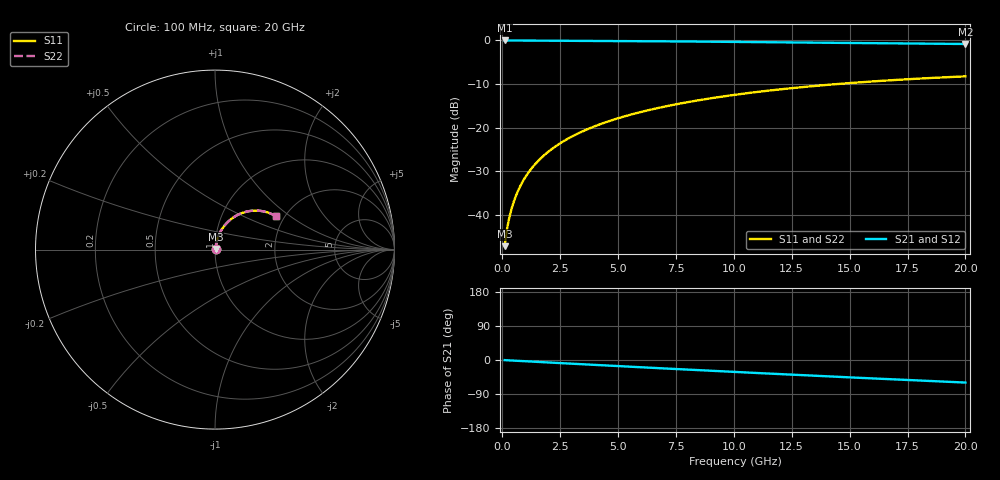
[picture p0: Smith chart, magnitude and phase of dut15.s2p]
! Touchstone file exported from HFSS 2026.1.0
!  File:  C:/ffzhzh/LocalFiles/Ansys_Project_Files/temp_train_TMRDL_15_1782880233_42304.aedt
!  Generated:  12:31:57 PM Jul  1, 2026
!  Design:  TMRDL
!  Project:  temp_train_TMRDL_15_1782880233_42304
! Variables:
!  h_bsmrdl = 2um
!  h_ox = 20um
!  h_rdl = 5um
!  h_sub = 80um
!  h_tmrdl = 4.56um
!  h_tsv = 80um
!  h_via = 3um
!  l_bsmrdl = 300um
!  l_sub = 1380.94um
!  l_tmrdl = 980.94um
!  m_sub = 200um
!  pitch = 46.74um
!  r_tsv = 6um
!  s_tmrdl = 10um
!  w_bsmrdl = 18um
!  w_sub = 500um
!  w_tmrdl = 26.03um
!  x_tsv_center1 = 993.955um
!  x_tsv_center2 = 1311.955um
!  x_tsv_center3 = 2318.925um
!  x_tsv_center4 = 2636.925um
!  x_tsv_center5 = 3643.895um
!  x_tsv_center6 = 3961.895um
# GHz S MA R 50.000000
! Terminal data exported
! Port[1] = TM_RDL1_1_T1
! Port[2] = TM_RDL1_1_T2
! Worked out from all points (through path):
!   200 points, 100 MHz to 20 GHz, reference 50 ohm
!   highest |S21| = -0.03 dB at 100 MHz (marker M1); lowest = -0.8 dB at 20 GHz (marker M2)
!   group delay of S21, straight-line fit = 8.26 ps
!   lowest |S11| = -47.1 dB at 100 MHz (marker M3), VSWR 1.01, Z = 50.3 + j0.307 ohm
!   |S11| at or under -10 dB: start of sweep to 14.47 GHz
!   |S22| runs from -47.1 to -8.2 dB; largest |S21 - S12| = 9.4e-15
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0.1  0.004418 43.7  0.9968 -0.3  0.9968 -0.3  0.004418 43.7
! Gamma 0 0 0 0
! Port Impedance 50 0 50 0
0.2  0.006843 58.9  0.9965 -0.7  0.9965 -0.7  0.006843 58.9
0.3  0.009337 65.7  0.9963 -1.0  0.9963 -1.0  0.009337 65.7
0.4  0.01185 69.7  0.9961 -1.3  0.9961 -1.3  0.01185 69.7
0.5  0.01438 72.4  0.996 -1.7  0.996 -1.7  0.01438 72.4
0.6  0.01694 74.2  0.9958 -2.0  0.9958 -2.0  0.01694 74.2
0.8  0.02212 76.5  0.9956 -2.6  0.9956 -2.6  0.02212 76.5
1.1  0.02997 78.1  0.9952 -3.6  0.9952 -3.6  0.02997 78.1
1.5  0.04046 78.5  0.9946 -4.9  0.9946 -4.9  0.04046 78.5
1.8  0.0483 78.3  0.994 -5.9  0.994 -5.9  0.0483 78.3
2.1  0.05611 77.9  0.9933 -6.9  0.9933 -6.9  0.05611 77.9
2.7  0.07156 76.7  0.9918 -8.8  0.9918 -8.8  0.07156 76.7
3.5  0.09177 74.6  0.9893 -11.3  0.9893 -11.3  0.09177 74.6
4.2  0.1091 72.6  0.9868 -13.6  0.9868 -13.6  0.1091 72.6
5  0.1283 70.3  0.9837 -16.1  0.9837 -16.1  0.1283 70.3
5.9  0.1494 67.7  0.9799 -18.9  0.9799 -18.9  0.1494 67.7
6.8  0.1699 65.1  0.9759 -21.7  0.9759 -21.7  0.1699 65.1
8.3  0.2026 60.8  0.9687 -26.2  0.9687 -26.2  0.2026 60.8
10.1  0.2393 55.6  0.9594 -31.6  0.9594 -31.6  0.2393 55.6
13.4  0.2991 46.4  0.9416 -41.3  0.9416 -41.3  0.2991 46.4
16.7  0.3485 37.4  0.924 -50.6  0.924 -50.6  0.3485 37.4
20  0.3872 28.6  0.9083 -59.5  0.9083 -59.5  0.3872 28.6
